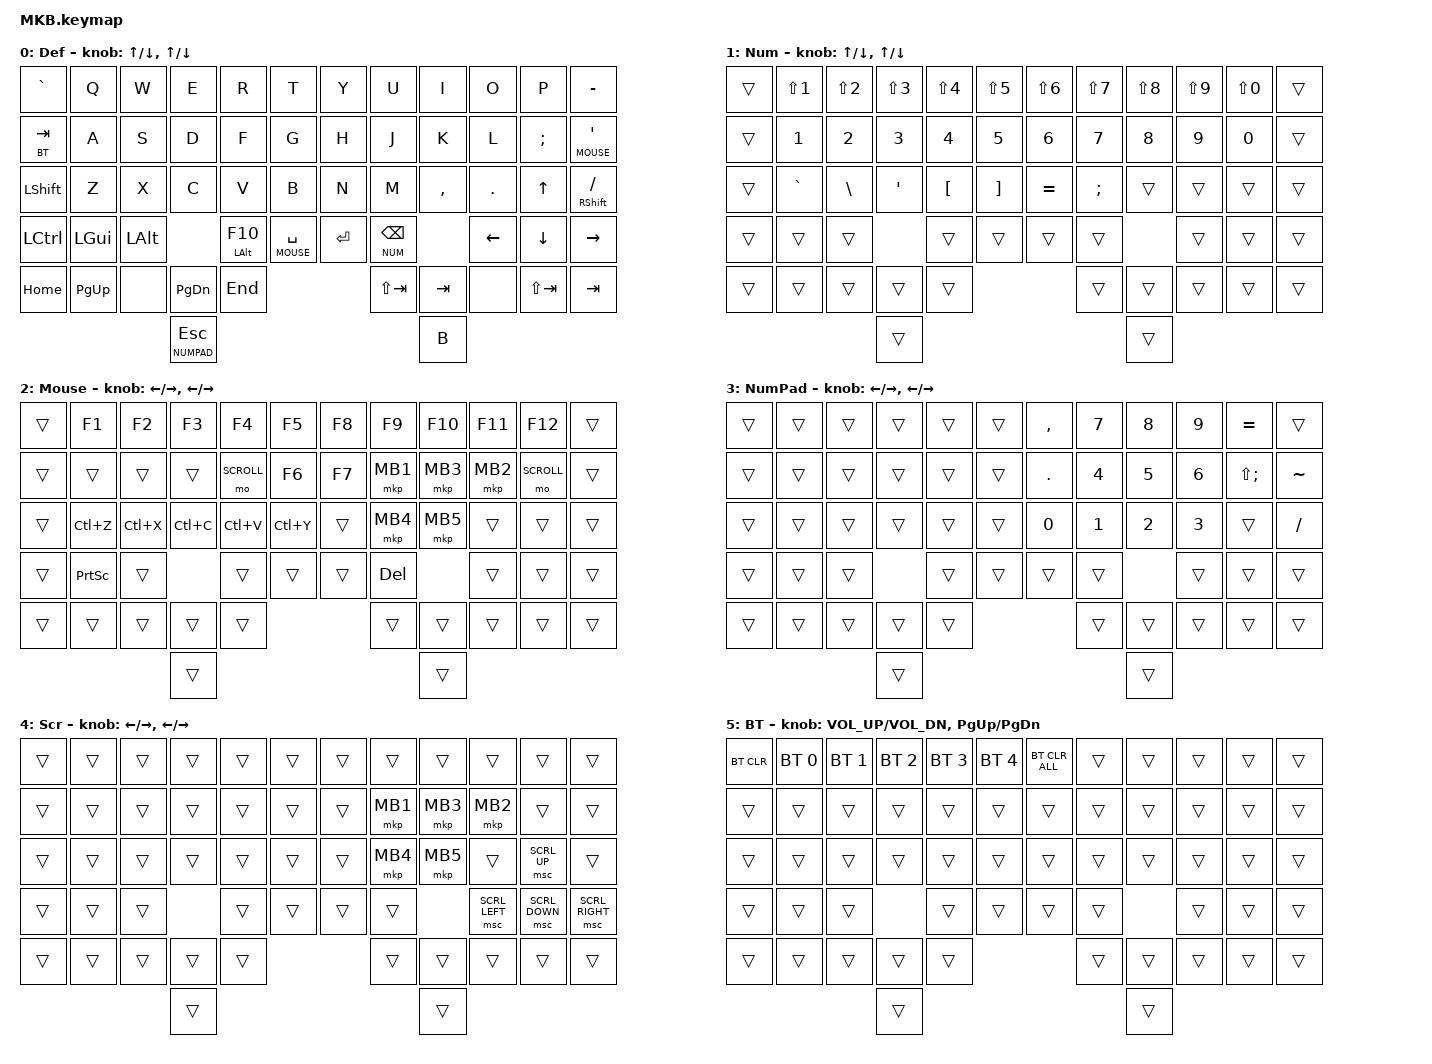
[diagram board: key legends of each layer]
// #include <layout_shift.dtsi>

#include <layout_shift_kp_override.dtsi>
#include <dt-bindings/zmk/modifiers.h>  // kuwawa enable &kp LC(*)
#include <behaviors.dtsi>
#include <dt-bindings/zmk/bt.h>
#include <dt-bindings/zmk/keys.h>
#include <dt-bindings/zmk/pointing.h>

#define DEF 0
#define NUM 1
#define MOUSE 2
#define NUMPAD 3
#define SCROLL 4
#define BT 5

&mt {
    flavor = "balanced";
    tapping-term-ms = <280>;
    quick-tap-ms = <175>;
    require-prior-idle-ms = <150>;
};

&lt {
    flavor = "hold-preferred";
    quick-tap-ms = <175>;
};

/ {
    combos {
        // key-positions row1  0~ 5, 6~11
        // key-positions row2 12~17,18~23
        // key-positions row3 24~29,30~35
        // key-positions row4 36~38,39~40,41~42,43~45
        compatible = "zmk,combos";

        //combo_lefttop {
        //    bindings = <&kp GRAVE>;
        //    key-positions = <0 1>;
        //
        //    //layers = <1>;
        //};

        combo_lefthome {
            bindings = <&kp LANG2>;
            key-positions = <15 16>;
        };

        combo_righthome {
            bindings = <&kp LANG1>;
            key-positions = <19 20>;
        };

        combo_righttop {
            bindings = <&kp EQUAL>;
            key-positions = <10 11>;
        };

        //combo_rightmid {
        //    bindings = <&kp BACKSLASH>;
        //    key-positions = <22 23>;
        //};
    };

    //    macros {
    //        macro_test: macro_test {
    //            compatible = "zmk,behavior-macro";
    //            #binding-cells = <0>;
    //            bindings = <&kp T &kp E &kp S &kp T &kp M &kp A &kp C &kp R &kp O &kp EXCL>;
    //            label = "MACRO_TEST";
    //        };
    //    };


    keymap {
        compatible = "zmk,keymap";

        default_layer {
            label = "Def";
            bindings = <
&kp GRAVE       &kp Q     &kp W      &kp E     &kp R           &kp T                &kp Y           &kp U        &kp I      &kp O      &kp P      &kp MINUS
&lt BT TAB      &kp A     &kp S      &kp D     &kp F           &kp G                &kp H           &kp J        &kp K      &kp L      &kp SEMI   &lt MOUSE SQT
&kp LSHFT       &kp Z     &kp X      &kp C     &kp V           &kp B                &kp N           &kp M        &kp COMMA  &kp DOT    &kp UP     &mt RSHIFT FSLH
&kp LCTL        &kp LGUI  &kp LALT             &mt LALT F10    &lt MOUSE SPACE      &kp ENTER       &lt NUM BSPC            &kp LEFT   &kp DOWN   &kp RIGHT
&kp HOME        &kp PG_UP  &none     &kp PG_DN  &kp END                                             &kp LS(TAB)  &kp TAB    &none      &kp LS(TAB) &kp TAB
                                     &lt NUMPAD ESC                                                               &kp B
            >;

            sensor-bindings = <&inc_dec_kp UP DOWN &inc_dec_kp UP DOWN>;
        };

        num_layer {
            label = "Num";
            bindings = <
&trans    &kp LS(N1)  &kp LS(N2)  &kp LS(N3)  &kp LS(N4)  &kp LS(N5)      &kp LS(N6)  &kp LS(N7)  &kp LS(N8)  &kp LS(N9)  &kp LS(N0)  &trans
&trans    &kp N1      &kp N2      &kp N3      &kp N4      &kp N5          &kp N6      &kp N7      &kp N8      &kp N9      &kp N0      &trans
&trans    &kp GRAVE   &kp BSLH    &kp SQT     &kp LBKT    &kp RBKT        &kp EQUAL   &kp SEMI    &trans      &trans      &trans      &trans
&trans    &trans      &trans                  &trans      &trans          &trans      &trans                  &trans      &trans      &trans
&trans    &trans      &trans      &trans      &trans                                  &trans      &trans      &trans      &trans      &trans
                                  &trans                                                          &trans
            >;

            sensor-bindings = <&inc_dec_kp UP DOWN &inc_dec_kp UP DOWN>;
        };

        mouse_layer {
            label = "Mouse";
            bindings = <
&trans    &kp F1     &kp F2     &kp F3     &kp F4      &kp F5         &kp F8  &kp F9       &kp F10    &kp F11    &kp F12     &trans
&trans    &trans     &trans     &trans     &mo SCROLL  &kp F6         &kp F7  &mkp MB1     &mkp MB3   &mkp MB2   &mo SCROLL  &trans
&trans    &kp LC(Z)  &kp LC(X)  &kp LC(C)  &kp LC(V)   &kp LC(Y)      &trans  &mkp MB4     &mkp MB5   &trans     &trans      &trans
&trans    &kp PSCRN  &trans                &trans      &trans         &trans  &kp DEL                 &trans     &trans      &trans
&trans    &trans      &trans      &trans      &trans                                  &trans      &trans      &trans      &trans      &trans
                                &trans                                                     &trans
            >;
            sensor-bindings = <&inc_dec_kp LEFT RIGHT &inc_dec_kp LEFT RIGHT>;
        };

        numpad_layer {
            label = "NumPad";
            bindings = <
&trans    &trans  &trans     &trans    &trans     &trans      &kp COMMA  &kp N7    &kp N8     &kp N9     &kp EQUAL     &trans
&trans    &trans  &trans     &trans    &trans     &trans      &kp DOT    &kp N4    &kp N5     &kp N6     &kp LS(SEMI)  &kp TILDE
&trans    &trans  &trans     &trans    &trans     &trans      &kp N0     &kp N1    &kp N2     &kp N3     &trans        &kp FSLH
&trans    &trans  &trans               &trans     &trans      &trans     &trans               &trans     &trans        &trans
&trans    &trans      &trans      &trans      &trans                                  &trans      &trans      &trans      &trans      &trans
                             &trans                                                &trans
            >;

            sensor-bindings = <&inc_dec_kp LEFT RIGHT &inc_dec_kp LEFT RIGHT>;
        };

        scroll_layer {
            label = "Scr";
            bindings = <
&trans    &trans  &trans     &trans    &trans     &trans      &trans  &trans    &trans     &trans          &trans          &trans
&trans    &trans  &trans     &trans    &trans     &trans      &trans  &mkp MB1  &mkp MB3   &mkp MB2        &trans          &trans
&trans    &trans  &trans     &trans    &trans     &trans      &trans  &mkp MB4  &mkp MB5   &trans          &msc SCRL_UP    &trans
&trans    &trans  &trans               &trans     &trans      &trans  &trans               &msc SCRL_LEFT  &msc SCRL_DOWN  &msc SCRL_RIGHT
&trans    &trans      &trans      &trans      &trans                                  &trans      &trans      &trans      &trans      &trans
                             &trans                                             &trans

            >;

            sensor-bindings = <&inc_dec_kp LEFT RIGHT &inc_dec_kp LEFT RIGHT>;
        };

        bt_layer {
            label = "BT";
            bindings = <
&bt BT_CLR  &bt BT_SEL 0  &bt BT_SEL 1  &bt BT_SEL 2  &bt BT_SEL 3  &bt BT_SEL 4      &bt BT_CLR_ALL  &trans    &trans     &trans     &trans     &trans
&trans      &trans        &trans        &trans        &trans        &trans            &trans          &trans    &trans     &trans     &trans     &trans
&trans      &trans        &trans        &trans        &trans        &trans            &trans          &trans    &trans     &trans     &trans     &trans
&trans      &trans        &trans                      &trans        &trans            &trans          &trans               &trans     &trans     &trans
&trans    &trans      &trans      &trans      &trans                                  &trans      &trans      &trans      &trans      &trans
                                        &trans                                                                  &trans
            >;

            sensor-bindings = <&inc_dec_kp C_VOL_UP C_VOL_DN &inc_dec_kp PG_UP PG_DN>;
        };
    };
};
